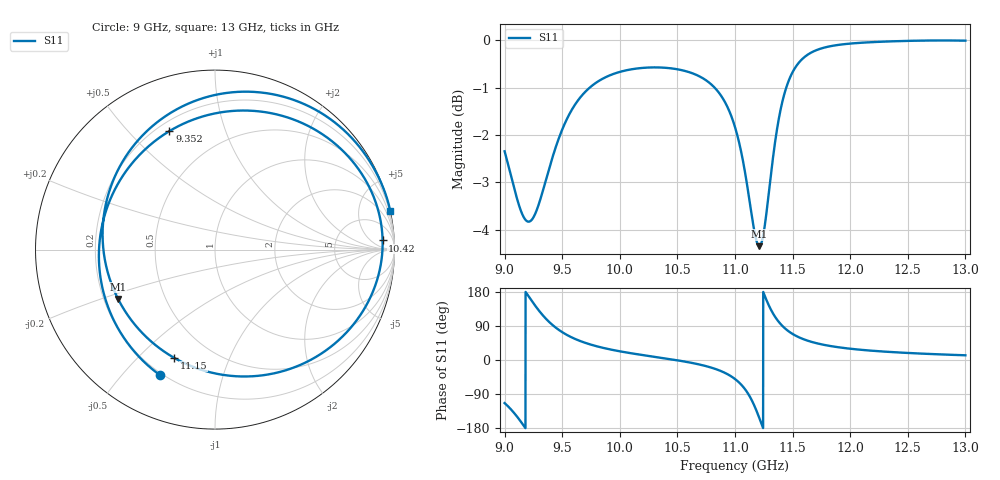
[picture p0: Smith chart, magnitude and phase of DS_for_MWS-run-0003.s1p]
! TOUCHSTONE file generated by CST DESIGN STUDIO
! Date and time: Tue Feb  4 18:27:21 2025
! Project name: C:\Work\MatlabApps\UnitCellOptimizationMatlab\CST\unitcell.cst
! Tree item: Tasks\Sweep1\SPara1\S-Parameters
! Header version: 2024
! Port assignment regex: !\s*Touchstone port\s*([0-9]+)\s*=\s*(CST MWS port|CST DES external port|CST DES block port)\s*(.+)\s* \(\"(.*)\"\)(\s*mode\s*([0-9]+))?.*
! Touchstone port assignment:
! Touchstone port 1 = CST DES external port 1 ("")
# GHz S MA R 50
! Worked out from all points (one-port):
!   4001 points, 9 GHz to 13 GHz, reference 50 ohm
!   lowest |S11| = -4.3 dB at 11.21 GHz (marker M1), VSWR 4.08, Z = 12.9 - j11.2 ohm
!   |S11| at or under -10 dB: nowhere
!   S11 on the Smith chart (normalised r, x): 9 GHz: 0.19, -0.64; 9.352 GHz: 0.25, +0.66; 10.42 GHz: 18, +15; 11.15 GHz: 0.31, -0.64; 13 GHz: 0.02, +9.18
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9  0.7636 -113.7
9.079  0.7009 -138.6
9.18  0.6465 -179.5
9.255  0.6517 147.7
9.352  0.7073 111.1
9.42  0.7553 91.3
9.5  0.805 73.5
9.711  0.8852 44.2
10  0.9264 22.9
10.417  0.9352 3.1
10.5  0.9323 -0.9
10.817  0.8931 -22.3
10.919  0.858 -34.9
11  0.8099 -50.2
11.09  0.7219 -78.2
11.153  0.6444 -110.7
11.211  0.6061 -153.0
11.242  0.6196 -178.1
11.273  0.6571 158.2
11.312  0.7216 132.7
11.349  0.7825 113.5
11.413  0.8635 89.4
11.5  0.9258 68.7
11.586  0.9565 55.9
11.691  0.975 45.6
12  0.9925 29.8
12.5  0.9991 18.6
13  0.9996 12.4
